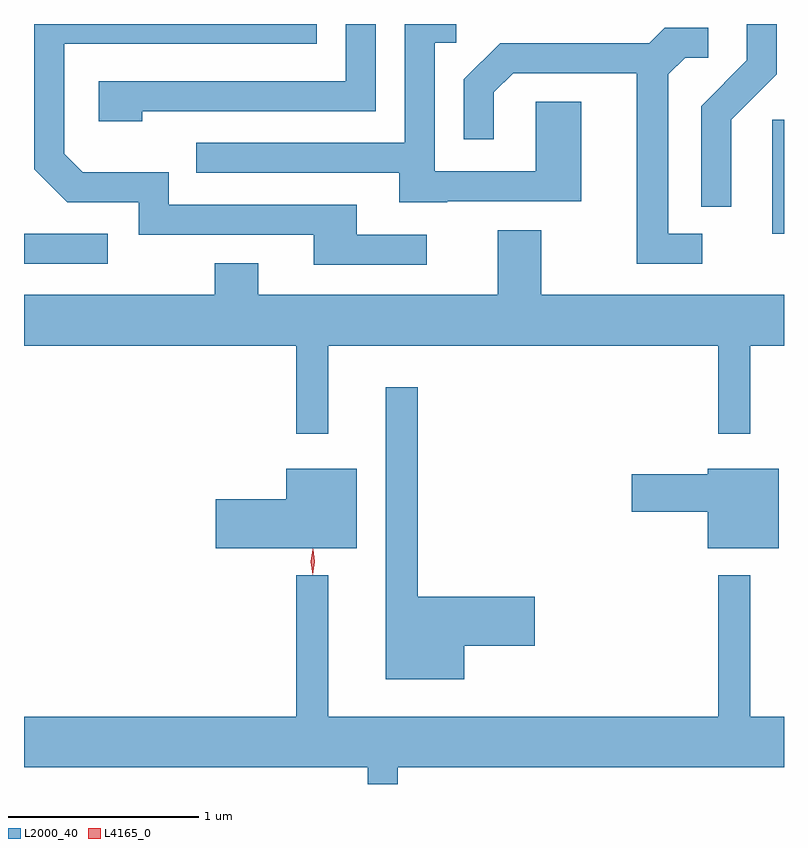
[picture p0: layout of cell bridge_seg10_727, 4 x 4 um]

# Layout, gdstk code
import gdstk
lib = gdstk.Library(unit=1e-6, precision=1e-09)
def R(c, l, rs):  # rectangles x0, y0, x1, y1
    for r in rs: c.add(gdstk.rectangle(r[:2], r[2:], *l))
def P(c, l, *ps):  # polygons
    for p in ps: c.add(gdstk.Polygon(p, *l))
L2000_40 = (2000, 40)
L4165_0 = (4165, 0)

bridge_seg10_727 = lib.new_cell('bridge_seg10_727')
R(bridge_seg10_727, L2000_40, [(543.957,2178.726,544.398,2178.884), (547.896,2178.886,547.957,2179.484)])
P(bridge_seg10_727, L2000_40, [(544.579,2179.531),(545.809,2179.531),(545.809,2179.989),(545.651,2179.989),(545.651,2179.689),(544.351,2179.689),(544.351,2179.476),(544.579,2179.476)],
  [(546.185,2179.056),(546.889,2179.056),(546.889,2179.579),(546.651,2179.579),(546.651,2179.214),(546.119,2179.214),(546.119,2179.891),(546.233,2179.891),(546.233,2179.989),(545.961,2179.989),(545.961,2179.364),(544.863,2179.364),(544.863,2179.206),(545.931,2179.206),(545.931,2179.051),(546.185,2179.051)],
  [(546.078,2178.879),(545.709,2178.879),(545.709,2179.039),(544.719,2179.039),(544.719,2179.209),(544.267,2179.209),(544.169,2179.307),(544.169,2179.886),(545.499,2179.886),(545.499,2179.989),(544.011,2179.989),(544.011,2179.224),(544.184,2179.051),(544.561,2179.051),(544.561,2178.881),(545.481,2178.881),(545.481,2178.721),(546.078,2178.721)],
  [(547.679,2179.484),(547.919,2179.724),(547.919,2179.989),(547.761,2179.989),(547.761,2179.797),(547.521,2179.557),(547.521,2179.028),(547.679,2179.028)],
  [(547.528,2178.884),(547.349,2178.884),(547.349,2179.724),(547.437,2179.811),(547.558,2179.811),(547.558,2179.969),(547.329,2179.969),(547.249,2179.889),(546.464,2179.889),(546.271,2179.697),(546.271,2179.383),(546.429,2179.383),(546.429,2179.629),(546.532,2179.731),(547.181,2179.731),(547.181,2178.726),(547.528,2178.726)],
  [(545.559,2178.296),(547.611,2178.296),(547.611,2177.833),(547.779,2177.833),(547.779,2178.296),(547.957,2178.296),(547.957,2178.564),(546.679,2178.564),(546.679,2178.904),(546.451,2178.904),(546.451,2178.564),(545.189,2178.564),(545.189,2178.729),(544.961,2178.729),(544.961,2178.564),(543.957,2178.564),(543.957,2178.296),(545.391,2178.296),(545.391,2177.833),(545.559,2177.833)],
  [(546.274,2176.716),(546.644,2176.716),(546.644,2176.974),(546.029,2176.974),(546.029,2178.078),(545.861,2178.078),(545.861,2176.541),(546.274,2176.541)],
  [(545.709,2177.649),(545.336,2177.649),(545.336,2177.489),(544.966,2177.489),(544.966,2177.231),(545.709,2177.231)],
  [(547.929,2177.649),(547.556,2177.649),(547.556,2177.619),(547.156,2177.619),(547.156,2177.421),(547.556,2177.421),(547.556,2177.231),(547.929,2177.231)],
  [(545.924,2176.076),(547.957,2176.076),(547.957,2176.344),(547.779,2176.344),(547.779,2177.088),(547.611,2177.088),(547.611,2176.344),(545.559,2176.344),(545.559,2177.088),(545.391,2177.088),(545.391,2176.344),(543.957,2176.344),(543.957,2176.076),(545.766,2176.076),(545.766,2175.989),(545.924,2175.989)])
P(bridge_seg10_727, L4165_0, [(545.476,2177.09),(545.467,2177.158),(545.478,2177.225),(545.478,2177.226),(545.479,2177.225),(545.487,2177.158),(545.477,2177.09),(545.477,2177.09)],
  [(545.476,2177.093),(545.468,2177.156),(545.478,2177.219),(545.479,2177.22),(545.479,2177.219),(545.488,2177.156),(545.477,2177.093),(545.477,2177.093)])

lib.write_gds('bridge_seg10_727.gds')
